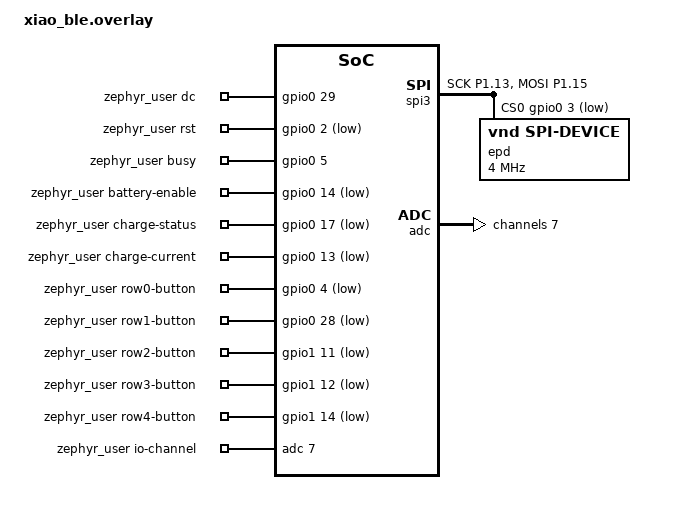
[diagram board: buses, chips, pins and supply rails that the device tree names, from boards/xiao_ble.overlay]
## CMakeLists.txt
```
cmake_minimum_required(VERSION 3.20.0)

find_package(Zephyr REQUIRED HINTS $ENV{ZEPHYR_BASE})
project(homescreen_display)

# The LVGL fonts the panel renders with, generated from one TTF by tools/fonts/generate.mjs
# together with the frontend's glyph-metrics table. Globbed rather than listed: the set is
# defined by that generator's SIZES/WEIGHTS, and a stale hand-maintained list here would
# silently drop a font the wire format can still reference. See src/fonts/hs_fonts.h.
file(GLOB HS_FONT_SOURCES ${CMAKE_CURRENT_SOURCE_DIR}/src/fonts/lv_font_hs_*.c)

target_sources(app PRIVATE
  ${HS_FONT_SOURCES}
  src/fonts/hs_fonts.c
  src/main.c
  src/ble_service.c
  src/chunk_protocol.c
  src/battery.c
  src/button.c
  src/epaper.c
  src/epaper_ssd1683.c
  src/layout_store.c
  src/rasterizer.c
)

target_include_directories(app PRIVATE src src/fonts)
```

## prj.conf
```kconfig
# Builds and runs on real hardware (XIAO nRF52840 + SSD1683) — see firmware/README.md.
# Kconfig names drift between Zephyr releases, so expect to revisit this if you move to a
# different NCS version than the one it was brought up against.

CONFIG_BT=y
CONFIG_BT_PERIPHERAL=y
CONFIG_BT_DEVICE_NAME="HomeScreen Display"
CONFIG_BT_DEVICE_NAME_DYNAMIC=n
# App logic only ever treats one connection as active at a time (spec 4.1/4.2) — this is
# 2, not 1, purely so the connection-object pool has a spare slot. With exactly 1, the
# just-disconnected object hadn't always finished being reclaimed internally by the time
# the next advertising cycle started, so bt_le_adv_start() kept returning -ENOMEM ("no
# free connection objects available for connectable advertiser") on real hardware — a
# known Zephyr BT host timing gap, not something app-level retry logic can wait out
# reliably (see zephyrproject-rtos/zephyr#90111, Nordic DevZone thread 109942).
CONFIG_BT_MAX_CONN=2
CONFIG_BT_MAX_PAIRED=0

# No bonding/pairing in v1 (spec 1, spec 8) — trusted local network, small device count.
CONFIG_BT_SMP=n

# Raise the negotiable ATT MTU well past the 23-byte default so data_transfer chunks
# (spec 4.3) aren't limited to ~13 payload bytes each. The gateway reads the connection's
# actual negotiated MTU at runtime (BleConnection.mtu_payload_size) rather than assuming
# this ceiling is always reached.
CONFIG_BT_L2CAP_TX_MTU=247
CONFIG_BT_BUF_ACL_TX_SIZE=251
CONFIG_BT_BUF_ACL_RX_SIZE=251
CONFIG_BT_USER_DATA_LEN_UPDATE=y

# Power management: lets the idle thread pick the SoC's deepest available sleep state
# during DEEP_SLEEP (k_msleep in main.c) automatically. Deliberately NOT calling
# sys_poweroff() for true System OFF — on nRF52840, System OFF drops power to the RTC
# peripheral, so it cannot wake on an RTC timer, only GPIO/LPCOMP/NFC (see docs/
# protocol.md's note on this if added, or Nordic's nRF52840 Product Specification,
# System OFF section). System ON's deepest sleep state keeps LFCLK+RTC alive for the
# RTC-driven wake this design needs, at only a small current cost versus true System OFF
# (Nordic's datasheet: ~1.5uA with full RAM retention vs ~0.3uA for System OFF) — this is
# what the spec's "System OFF (or the lowest sleep state that supports RTC wake)" phrase
# is actually pointing at.
CONFIG_PM=y
CONFIG_PM_DEVICE=y

CONFIG_WATCHDOG=y

CONFIG_ADC=y

CONFIG_GPIO=y
CONFIG_SPI=y

CONFIG_REBOOT=y

# LVGL (v9.5, bundled with NCS at modules/lib/gui/lvgl) as the text/shape renderer,
# replacing the hand-authored 8x8 bitmap font in font_basic.h. The point is not the
# widget toolkit — it's real proportional fonts with real glyph metrics, so what the
# design editor previews in the browser and what the panel actually prints can be made
# to agree. Nothing here routes the panel through Zephyr's display subsystem; see
# boards/xiao_ble.overlay's `zephyr,display` comment for why a dummy display node
# exists, and lvgl_render.c for how the real lv_display is created and flushed.
CONFIG_DISPLAY=y
CONFIG_LVGL=y

# RGB565. Not LV_COLOR_DEPTH_1 (which would look like the obvious choice for a mono
# panel): LVGL 9's I1 draw path is far less exercised than the 16-bit one, and the
# render happens once per wake into a buffer we threshold ourselves anyway, so the
# extra byte per pixel costs a transient buffer, not power or refresh time. Revisit if
# RAM gets tight.
CONFIG_LV_COLOR_DEPTH_16=y

CONFIG_LV_USE_LABEL=y
CONFIG_LV_USE_LINE=y
CONFIG_LV_FONT_MONTSERRAT_16=y

# LVGL's internal log. Off by default (LV_Z_LOG_LEVEL=0), which means LVGL's own error
# and assert messages — including allocation failures out of LV_Z_MEM_POOL_SIZE — are
# discarded rather than printed, so a failed render looks identical to a render that
# simply drew nothing. Routed into Zephyr's log via the module's lv_log_register_print_cb,
# which it only installs when LV_Z_LOG_LEVEL != 0.
# Don't assign LV_Z_LOG_LEVEL directly — it has no prompt and is derived from the level
# choice below (WARN => 2), so setting it is a hard Kconfig error.
CONFIG_LV_USE_LOG=y
CONFIG_LV_LOG_LEVEL_WARN=y

# LVGL's internal heap, used for object/style/draw-task allocation. Sized generously for
# bring-up rather than measured; lv_mem_monitor() is the way to trim it once the real
# full-panel render path exists.
CONFIG_LV_Z_MEM_POOL_SIZE=16384

CONFIG_LOG=y
CONFIG_LOG_DEFAULT_LEVEL=3

# USB CDC ACM console. Note this needs almost nothing here: the board's own defconfig
# (zephyr/boards/common/usb/Kconfig.cdc_acm_serial.defconfig, pulled in because
# xiao_ble_common.dtsi includes common/usb/cdc_acm_serial.dtsi) already sets
# BOARD_SERIAL_BACKEND_CDC_ACM=y, which turns on SERIAL/CONSOLE/UART_CONSOLE, selects the
# *next* USB device stack, and initializes CDC ACM at boot. The console was therefore
# available all along — this project simply never used it, and diagnosed bring-up
# problems from what the e-paper did or didn't show instead (see lvgl_spike.c's note
# about debugging "on hardware with no serial console"). The board enumerates as
# /dev/cu.usbmodem* on macOS.
#
# Do NOT add CONFIG_USB_DEVICE_STACK=y here: that is the *legacy* stack, and enabling it
# alongside the next one makes both bind the same devicetree cdc-acm-uart node, which
# fails at link time with "multiple definition of __device_dts_ord_N".
#
# UART_LINE_CTRL is the one thing not already on (its default tracks SHELL, which this
# app doesn't use). main.c's wait_for_console() needs it to poll DTR.
CONFIG_UART_LINE_CTRL=y

# Log lines produced before the host opens the CDC port are dropped — CDC ACM discards
# writes while nothing is attached — which would lose exactly the boot-time messages
# worth reading, including anything LVGL's SYS_INIT (LV_Z_AUTO_INIT, APPLICATION
# priority) emits before main() runs. Deferred logging buffers messages and a dedicated
# thread drains them; delaying that thread's first run lets the queue accumulate until
# main()'s wait_for_console() has seen DTR, so the backlog flushes into an attached
# terminal instead of a closed pipe. The board defconfig already defaults this to 4000ms;
# pinned explicitly here and kept in step with CONSOLE_WAIT_TIMEOUT_MS in main.c.
CONFIG_LOG_BUFFER_SIZE=4096
CONFIG_LOG_PROCESS_THREAD_STARTUP_DELAY_MS=2500

# LVGL's initialization runs as SYS_INIT(lvgl_init, APPLICATION, LV_Z_INIT_PRIORITY),
# i.e. on the main thread's stack before main() is entered, and LVGL's rendering is
# stack-hungry besides. At the previous default of 2048 the very first LVGL-enabled build
# never reached main() at all: the panel kept its pre-existing content, meaning
# epaper_init()'s unconditional blank-frame push never ran. With HW_STACK_PROTECTION=y an
# overflow there is an MPU fault, which on a board that isn't enumerating USB yet looks
# exactly like a silent hang.
CONFIG_MAIN_STACK_SIZE=8192
```

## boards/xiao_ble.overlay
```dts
/*
 * Devicetree overlay for the actual v1 hardware: Seeed Studio XIAO nRF52840 (XIAO BLE)
 * + ePaper Driver Board for XIAO + a 4.2" 400x300 monochrome eInk panel (SSD1683
 * controller, e.g. GDEY042T81/T91).
 *
 * Untested — written from Seeed's published pin table for the ePaper Driver Board
 * (wiki.seeedstudio.com/xiao_eink_expansion_board_v2), the standard XIAO nRF52840
 * D-pin -> nRF52840 GPIO mapping, and the SSD1683 datasheet (Solomon Systech, Rev 1.0,
 * Jan 2021) for the SPI framing (4-wire SPI: SCL/SDA/D-C#/CS#, MSB first). Verify
 * against your actual board revision and NCS/Zephyr version before flashing — see
 * firmware/README.md.
 *
 * XIAO D-pin -> nRF52840 GPIO (Seeed's standard XIAO BLE pinout):
 *   D0 = P0.02   D1 = P0.03   D2 = P0.28   D3 = P0.29
 *   D4 = P0.04   D5 = P0.05   D6 = P1.11   D7 = P1.12
 *   D8 = P1.13   D9 = P1.14   D10 = P1.15
 *
 * ePaper Driver Board pin table:
 *   RST=D0  CS=D1  DC=D3  BUSY=D5  SCK=D8  MOSI=D10
 *
 * BUSY=D5 was verified against the physical board. The rest of this row still comes from
 * Seeed's published wiki table, which had BUSY on D2 — demonstrably wrong here, so treat
 * the unverified entries with suspicion if anything else misbehaves. D2 is not used by
 * the panel at all and now carries a checklist button instead (see `buttons` below).
 *
 * Checklist row buttons (this feature): D2, D4, D6, D7, D9 are the pins the ePaper board
 * and battery ADC leave free — wired one per row, active-low to GND with the SoC's
 * internal pull-up (see `buttons` node below).
 *
 * D5 is NOT among them: it is the panel's BUSY line. It was originally listed here as a
 * free button pin because the ePaper pin table above wrongly placed BUSY on D2, so both
 * ends of that mistake had to be corrected together — row 1's button moved D5 -> D2.
 *
 * These GPIO numbers are transcribed from Seeed's published XIAO nRF52840 pinout diagram
 * and, apart from D5, are not cross-checked against a physical board — verify against the
 * actual silkscreen before wiring real buttons.
 *
 * Battery sense (documented on the Seeed forum for XIAO nRF52840): P0.31 is AIN7, the
 * ADC input for the VBAT divider; P0.14 is the divider's active-low enable pin. See
 * battery.c for why P0.14 is held low permanently rather than toggled per-read (a
 * known hardware risk to P0.31 if driven high while configured as an analog input).
 *
 * Charge status (documented on the Seeed forum for XIAO nRF52840): P0.17 is wired
 * on-module to the onboard BQ25101 charger IC's CHG output, the same signal that drives
 * the board's charging LED — driven low while charging, high when not charging or
 * charge-complete. Like P0.31/P0.14 above, this is an internal XIAO pin, not one of the
 * D0-D10 header pins, so it doesn't compete with the panel/button wiring in this file.
 *
 * Charge current select (documented on the Seeed forum, "XIAO Sense nRF52840 - A Guide
 * on How to set Battery Charging current"): P0.13 (silkscreened HICHG) is wired
 * on-module to the BQ25101's ISET pair — floating/input (the power-on default) selects
 * 50 mA, driven low selects 100 mA. battery.c drives it low permanently at boot, the
 * same "set once, leave it" treatment as battery-enable-gpios above, since there's no
 * reason to ever fall back to the slower rate.
 */

&pinctrl {
	spi3_epd: spi3_epd {
		group1 {
			psels = <NRF_PSEL(SPIM_SCK, 1, 13)>,
				<NRF_PSEL(SPIM_MOSI, 1, 15)>;
		};
	};
};

&spi3 {
	status = "okay";
	compatible = "nordic,nrf-spim";
	pinctrl-0 = <&spi3_epd>;
	pinctrl-names = "default";
	cs-gpios = <&gpio0 3 GPIO_ACTIVE_LOW>; /* D1 = CS */

	epd: epd@0 {
		/* No dedicated Zephyr binding for this panel family exists, so
		 * epaper.c pulls this as a raw spi_dt_spec (SPI_DT_SPEC_GET) rather
		 * than through a display-class driver — reg/spi-max-frequency are all
		 * that macro actually needs. Depending on your Zephyr/NCS version's
		 * devicetree tooling strictness, an unrecognized `compatible` here may
		 * warn (usually harmless) or require a matching bindings/*.yaml file
		 * in this app — add one if your build complains.
		 */
		compatible = "vnd,spi-device";
		reg = <0>;
		spi-max-frequency = <4000000>; /* conservative; SSD1683 supports more,
						 * raise once verified on real hardware */
	};
};

&adc {
	status = "okay";
	#address-cells = <1>;
	#size-cells = <0>;

	channel@7 {
		reg = <7>;
		zephyr,gain = "ADC_GAIN_1_6";
		zephyr,reference = "ADC_REF_INTERNAL";
		zephyr,acquisition-time = <ADC_ACQ_TIME(ADC_ACQ_TIME_MICROSECONDS, 40)>;
		zephyr,input-positive = <NRF_SAADC_AIN7>;
		zephyr,resolution = <12>;
	};
};

/ {
	chosen {
		/*
		 * LVGL's Zephyr module (zephyr/modules/lvgl/lvgl.c) is compiled
		 * unconditionally under CONFIG_LVGL and #errors at preprocess time unless a
		 * `zephyr,display` chosen node exists — it has no "I'll drive my own
		 * display" mode. This project deliberately does *not* go through Zephyr's
		 * display subsystem for the panel (see epaper_ssd1683.c and the SSD1683
		 * driver detour that was tried and reverted): the SSD1683 driver here is
		 * the hardware-proven one and stays.
		 *
		 * So this points at a dummy display purely to satisfy that build-time
		 * requirement. Nothing renders through it. The real rendering path creates
		 * its own lv_display sized to the panel and flushes into the 1bpp
		 * framebuffer that epd_ssd1683_push_full() already takes.
		 */
		zephyr,display = &lvgl_dummy_display;
	};

	/* Far smaller than the panel's 400x300 so the buffers LVGL's module allocates for
	 * this never-used display cost bytes instead of kilobytes. Not smaller still: the
	 * module sizes the buffer as a percentage of the display (CONFIG_LV_Z_VDB_SIZE,
	 * default 10), and at 8x8 that rounded to zero rows, so lvgl_init() asserted
	 * "lv_display_set_buffers: h != 0 (the buffer is too small)" on every boot. */
	lvgl_dummy_display: lvgl-dummy-dc {
		compatible = "zephyr,dummy-dc";
		status = "okay";
		width = <64>;
		height = <64>;
	};

	/*
	 * Board-specific GPIO/ADC wiring with no dedicated driver of its own —
	 * `zephyr,user` is Zephyr's standard place for exactly this (see e.g.
	 * nRF Connect SDK's own battery-voltage samples for the io-channels half of
	 * this pattern). Read via DT_PATH(zephyr_user) + GPIO_DT_SPEC_GET /
	 * ADC_DT_SPEC_GET_BY_IDX in battery.c and epaper.c.
	 */
	zephyr_user: zephyr,user {
		io-channels = <&adc 7>;
		dc-gpios = <&gpio0 29 GPIO_ACTIVE_HIGH>;   /* D3 */
		rst-gpios = <&gpio0 2 GPIO_ACTIVE_LOW>;    /* D0 */
		/* D5, not D2. The pin table in this file's header (transcribed from Seeed's
		 * wiki) said BUSY=D2, and that was wrong for this board: a boot-time probe
		 * (epd_probe_busy_line in epaper_ssd1683.c) sampled P0.28 978 times across a
		 * software reset and never once saw it asserted, and the pin was confirmed
		 * against the physical board as D5. Every panel operation was consequently
		 * falling through to a 4-second blind wait — see epd_wait_busy(). */
		busy-gpios = <&gpio0 5 GPIO_ACTIVE_HIGH>; /* D5 — datasheet: high = busy */
		battery-enable-gpios = <&gpio0 14 GPIO_ACTIVE_LOW>; /* low = divider enabled */
		/* ACTIVE_LOW so gpio_pin_get_dt() reads 1 (active) exactly while the BQ25101
		 * is charging, matching battery.c's bool out-param. No PULL flag: the CHG
		 * pin is already driven push-pull-ish by the charger IC through the LED's
		 * pull path on the XIAO module itself (same reasoning as busy-gpios above
		 * not needing one — an actively-driven signal, not a floating input). */
		charge-status-gpios = <&gpio0 17 GPIO_ACTIVE_LOW>;
		/* ACTIVE_LOW so GPIO_OUTPUT_ACTIVE (battery.c) drives the physical pin low,
		 * selecting the BQ25101's 100 mA charge rate instead of the 50 mA default. */
		charge-current-gpios = <&gpio0 13 GPIO_ACTIVE_LOW>;

		/* One tactile button per checklist row (up to 5, the number of free GPIOs —
		 * see header comment). Each ties its pin to GND when pressed; ACTIVE_LOW +
		 * PULL_UP means the pin reads high (inactive) via the SoC's internal pull-up
		 * when open. The pin's own edge interrupt (configured in button.c, not here)
		 * is what wakes the SoC from DEEP_SLEEP — no separate "wakeup-source"
		 * devicetree property is needed because this firmware sleeps in Zephyr's
		 * deepest *System ON* low-power state, not System OFF, and GPIO interrupts
		 * already wake the CPU for free from there (see prj.conf's comment on why
		 * System OFF was deliberately avoided). Named individually (not a `gpios`
		 * array, and not `gpio-keys` + CONFIG_INPUT) to keep each one a plain
		 * GPIO_DT_SPEC_GET(DT_PATH(zephyr_user), row0_button_gpios)-style spec in
		 * button.c, matching every other pin in this node. */
		row0-button-gpios = <&gpio0 4 (GPIO_ACTIVE_LOW | GPIO_PULL_UP)>;  /* D4 */
		/* Moved off D5, which turned out to be the panel's BUSY line (see busy-gpios
		 * above) — the two cannot share a pin. D2/P0.28 is free precisely because it
		 * was the pin BUSY was mistakenly assigned to.
		 *
		 * NOTE: this is a wiring change, not just a devicetree change. If a physical
		 * button for row 1 is already soldered to D5, it has to move to D2 as well,
		 * otherwise pressing it fights the panel driving BUSY. */
		row1-button-gpios = <&gpio0 28 (GPIO_ACTIVE_LOW | GPIO_PULL_UP)>; /* D2 */
		row2-button-gpios = <&gpio1 11 (GPIO_ACTIVE_LOW | GPIO_PULL_UP)>; /* D6 */
		row3-button-gpios = <&gpio1 12 (GPIO_ACTIVE_LOW | GPIO_PULL_UP)>; /* D7 */
		row4-button-gpios = <&gpio1 14 (GPIO_ACTIVE_LOW | GPIO_PULL_UP)>; /* D9 */
	};
};
```

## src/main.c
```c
/*
 * Duty-cycle state machine (spec 4.1):
 *
 *   DEEP_SLEEP --RTC wake--> ADVERTISING --connected--> SYNCING --done--> DEEP_SLEEP
 *        ^                        |                                          |
 *        '---- advertising window elapses, no connection --------------------'
 *
 * SYNCING itself has no code here — it's entirely driven by the GATT read/write
 * callbacks in ble_service.c while a connection is open. This file only needs to know
 * when a cycle has ended (on_ble_event's DISCONNECTED case) to go back to sleep.
 */

#include <errno.h>

#include <zephyr/device.h>
#include <zephyr/drivers/hwinfo.h>
#include <zephyr/drivers/uart.h>
#include <zephyr/drivers/watchdog.h>
#include <zephyr/kernel.h>
#include <zephyr/logging/log.h>

#include "battery.h"
#include "ble_service.h"
#include "button.h"
#include "epaper.h"

LOG_MODULE_REGISTER(main, CONFIG_LOG_DEFAULT_LEVEL);

#define FW_VERSION 2

/* Not yet a Kconfig option — see firmware/README.md item 1. */
#define APP_ADVERTISING_WINDOW_MS 4000

/* How many consecutive wake cycles may elapse with no gateway BLE connection before the
 * panel shows a "not connected" badge (epaper_set_connection_lost) instead of silently
 * going back to sleep with stale content and no indication anything is wrong. Not yet a
 * Kconfig/BLE-command option, same status as APP_ADVERTISING_WINDOW_MS above — nothing
 * about the wire protocol needs to change to make this runtime-configurable later the
 * same way BLE_SERVICE_COMMAND_SET_WAKE_INTERVAL_S did for the wake interval. */
#define CONNECTION_LOST_THRESHOLD 3

/* DEEP_SLEEP's duration itself is no longer a compile-time constant here — it's
 * ble_service_get_wake_interval_s(), runtime-configurable via
 * BLE_SERVICE_COMMAND_SET_WAKE_INTERVAL_S (ble_service.h) so the backend/gateway can
 * tune it per display without reflashing. It starts at
 * BLE_SERVICE_DEFAULT_WAKE_INTERVAL_S — a bring-up value, not a battery-life one:
 * content takes two wake cycles to converge (docs/protocol.md, "Sync latency"), so at a
 * much longer interval every test iteration would cost several minutes.
 *
 * Generous enough to cover one full advertising+sync cycle plus slack, short enough to
 * catch a genuinely stuck SYNCING phase (spec 4.1's watchdog requirement). Fed exactly
 * once per completed cycle, right before going back to sleep — not continuously — so a
 * hang anywhere in a cycle (not just SYNCING) eventually forces the reset spec 4.1 asks
 * for. The nRF's watchdog timeout can't be changed once wdt_setup() runs (its CRV
 * register is write-once-per-reset), so this is sized off
 * BLE_SERVICE_MAX_WAKE_INTERVAL_S — the worst case the wake interval could ever be set
 * to — rather than whatever it's currently configured to. That means a short-interval
 * display's watchdog window is looser than the "2x this cycle" reasoning alone would
 * give it, but a wake interval that long is itself an intentional long sleep, not a
 * hang, so a loose bound there costs nothing but watchdog precision. */
#define WATCHDOG_TIMEOUT_MS (2 * BLE_SERVICE_MAX_WAKE_INTERVAL_S * 1000)

static K_SEM_DEFINE(sync_done_sem, 0, 1);

/* Given by a button ISR (button.c) on any accepted press, so DEEP_SLEEP can end early
 * instead of always waiting the full RTC interval — see the sleep call at the bottom of
 * the main loop below. */
static K_SEM_DEFINE(wake_sem, 0, 1);

static const struct device *wdt_dev;
static int wdt_channel_id = -1;

/* Set by on_ble_event on CONNECTED, read (and reset) by the main loop once each cycle's
 * advertise_and_wait_for_sync() call returns. A connection is enough to count as
 * "reached the gateway" here even in the (in-sync, nothing to push) case where no
 * data_transfer ever happens — that's the normal steady state, not a failure. */
static volatile bool connected_this_cycle;

/* How many wake cycles in a row have ended with no BLE connection at all. Saturates at
 * CONNECTION_LOST_THRESHOLD rather than growing without bound while disconnected for a
 * long time — epaper_set_connection_lost is already a no-op once the badge is showing,
 * so nothing is lost by not counting higher. */
static uint8_t consecutive_connect_failures;

static void on_ble_event(enum ble_service_event event)
{
	if (event == BLE_SERVICE_EVENT_CONNECTED) {
		connected_this_cycle = true;
	} else if (event == BLE_SERVICE_EVENT_DISCONNECTED) {
		/* Clean or unexpected disconnect — either way, spec 4.1 says always
		 * return to DEEP_SLEEP, never leave the radio in an ambiguous state. */
		k_sem_give(&sync_done_sem);
	}
}

static int watchdog_setup(void)
{
	wdt_dev = DEVICE_DT_GET_ANY(nordic_nrf_watchdog);
	if (wdt_dev == NULL || !device_is_ready(wdt_dev)) {
		LOG_ERR("watchdog device not ready");
		return -ENODEV;
	}

	struct wdt_timeout_cfg wdt_config = {
		.window.min = 0,
		.window.max = WATCHDOG_TIMEOUT_MS,
		.callback = NULL, /* no callback — let it reset the chip directly */
		.flags = WDT_FLAG_RESET_SOC,
	};

	wdt_channel_id = wdt_install_timeout(wdt_dev, &wdt_config);
	if (wdt_channel_id < 0) {
		LOG_ERR("failed to install watchdog timeout (%d)", wdt_channel_id);
		return wdt_channel_id;
	}

	return wdt_setup(wdt_dev, 0);
}

static void watchdog_feed(void)
{
	if (wdt_dev != NULL && wdt_channel_id >= 0) {
		wdt_feed(wdt_dev, wdt_channel_id);
	}
}

static void advertise_and_wait_for_sync(void)
{
	int err = ble_service_start_advertising();
	if (err) {
		LOG_ERR("failed to start advertising (%d)", err);
		return;
	}

	k_sem_reset(&sync_done_sem);
	int took_sem = k_sem_take(&sync_done_sem, K_MSEC(APP_ADVERTISING_WINDOW_MS));

	if (took_sem != 0) {
		/* Window elapsed with nobody connecting — stop advertising ourselves.
		 * If a connection *did* happen, advertising already stopped on connect
		 * (BT_LE_ADV_CONN_FAST_1's behavior) and sync_done_sem was given by
		 * on_ble_event() once the gateway disconnected. */
		ble_service_stop_advertising();
	}
}

/* Logs why the last reset happened, then clears the cause register so the next one is
 * unambiguous. On the nRF52840, a value of 0 (none of the named bits set) means POR or
 * brownout — the SoC doesn't distinguish those two from each other, only from
 * watchdog/software/lockup resets, which do set a bit. Worth keeping permanently: a
 * battery-powered device that reboots in the field leaves nothing else to go on, and an
 * MPU stack-guard fault (see epd_ssd1683_identify) kills the USB console before it can
 * flush the fault dump, so this line is often the only surviving evidence. */
static void log_reset_cause(void)
{
	uint32_t cause = 0;

	hwinfo_get_reset_cause(&cause);
	hwinfo_clear_reset_cause();

	LOG_INF("reset cause: 0x%08x%s%s%s%s%s%s", cause,
		(cause & RESET_PIN) ? " PIN" : "", (cause & RESET_SOFTWARE) ? " SOFTWARE" : "",
		(cause & RESET_WATCHDOG) ? " WATCHDOG" : "",
		(cause & RESET_CPU_LOCKUP) ? " CPU_LOCKUP" : "",
		(cause & RESET_LOW_POWER_WAKE) ? " LOW_POWER_WAKE" : "",
		(cause == 0) ? " (none set -> POR or brownout)" : "");
}

/* How long to wait at boot for a host to open the USB CDC console (prj.conf's USB block).
 * Bounded, and deliberately short: in normal service this display runs on a battery with
 * nothing plugged into USB, where DTR never asserts and this wait is dead time on every
 * reset. Long enough for macOS to enumerate the device and a terminal to attach when
 * someone is actually debugging, negligible otherwise. Kept in step with
 * CONFIG_LOG_PROCESS_THREAD_STARTUP_DELAY_MS so the buffered boot log flushes just after
 * the terminal is attached rather than just before. */
#define CONSOLE_WAIT_TIMEOUT_MS 2000
#define CONSOLE_WAIT_POLL_MS 50

static void wait_for_console(void)
{
	const struct device *console = DEVICE_DT_GET(DT_CHOSEN(zephyr_console));

	if (!device_is_ready(console)) {
		return;
	}

	for (int waited = 0; waited < CONSOLE_WAIT_TIMEOUT_MS; waited += CONSOLE_WAIT_POLL_MS) {
		uint32_t dtr = 0;

		if (uart_line_ctrl_get(console, UART_LINE_CTRL_DTR, &dtr) == 0 && dtr) {
			return;
		}
		k_msleep(CONSOLE_WAIT_POLL_MS);
	}
}

int main(void)
{
	wait_for_console();

	LOG_INF("homescreen display firmware starting (fw_version=%d)", FW_VERSION);
	log_reset_cause();

	if (watchdog_setup() != 0) {
		LOG_WRN("continuing without watchdog protection");
	}

	battery_init();
	epaper_init();

	if (button_init(&wake_sem) != 0) {
		LOG_WRN("continuing without checklist buttons");
	}

	int err = ble_service_init();
	if (err) {
		LOG_ERR("bt_enable failed (%d) - halting", err);
		return err;
	}
	ble_service_set_event_callback(on_ble_event);

	while (1) {
		uint8_t battery_pct;
		uint16_t battery_mv;
		bool charging;
		if (battery_read(&battery_pct, &battery_mv, &charging) == 0) {
			ble_service_set_battery(battery_pct, battery_mv, charging);
			/* Locally-known state, drawn independent of the gateway — see
			 * epaper_set_charging's doc comment. */
			epaper_set_charging(charging);
		} else {
			LOG_WRN("battery read failed, status will report last known value");
		}

		connected_this_cycle = false;
		advertise_and_wait_for_sync();

		if (connected_this_cycle) {
			consecutive_connect_failures = 0;
		} else if (consecutive_connect_failures < CONNECTION_LOST_THRESHOLD) {
			consecutive_connect_failures++;
		}
		epaper_set_connection_lost(consecutive_connect_failures >= CONNECTION_LOST_THRESHOLD);

		/* Cycle complete, synced or not — feed the watchdog and go back to
		 * sleep. Sleeping via k_sem_take (not a plain k_msleep) lets a checklist
		 * button press end DEEP_SLEEP early instead of always waiting the full RTC
		 * interval, while still relying on CONFIG_PM's idle thread to select the
		 * SoC's deepest RTC-wake-capable sleep state for however long we do wait;
		 * see prj.conf for why this isn't a manual sys_poweroff()/true System OFF
		 * call — that distinction is also what makes a plain GPIO interrupt enough
		 * to wake us here, with no extra devicetree "wakeup-source" plumbing. */
		watchdog_feed();
		k_sem_reset(&wake_sem);
		k_sem_take(&wake_sem, K_MSEC(ble_service_get_wake_interval_s() * 1000));
	}

	return 0;
}
```

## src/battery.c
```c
#include "battery.h"

#include <errno.h>

#include <zephyr/device.h>
#include <zephyr/devicetree.h>
#include <zephyr/drivers/adc.h>
#include <zephyr/drivers/gpio.h>
#include <zephyr/logging/log.h>

LOG_MODULE_REGISTER(battery, CONFIG_LOG_DEFAULT_LEVEL);

/* Wired up in boards/xiao_ble.overlay's `zephyr,user` node: io-channels = P0.31/AIN7
 * (the VBAT divider output), battery-enable-gpios = P0.14 (the divider's active-low
 * enable pin) — see that file's header comment for the hardware sourcing. Falls back to
 * a placeholder reading on any other board until a matching overlay exists. */
#define BATTERY_NODE DT_PATH(zephyr_user)

#if DT_NODE_HAS_PROP(BATTERY_NODE, io_channels)
static const struct adc_dt_spec battery_adc = ADC_DT_SPEC_GET(BATTERY_NODE);
#define HAVE_BATTERY_ADC 1
#endif

#if DT_NODE_HAS_PROP(BATTERY_NODE, battery_enable_gpios)
static const struct gpio_dt_spec battery_enable =
	GPIO_DT_SPEC_GET(BATTERY_NODE, battery_enable_gpios);
#define HAVE_BATTERY_ENABLE 1
#endif

/* BQ25101 CHG output via the XIAO module's own wiring (see xiao_ble.overlay) — absent
 * on any board whose overlay doesn't define it, same "degrade instead of failing to
 * build" treatment as HAVE_BATTERY_ADC/HAVE_BATTERY_ENABLE above. */
#if DT_NODE_HAS_PROP(BATTERY_NODE, charge_status_gpios)
static const struct gpio_dt_spec charge_status =
	GPIO_DT_SPEC_GET(BATTERY_NODE, charge_status_gpios);
#define HAVE_CHARGE_STATUS 1
#endif

/* BQ25101 ISET select via the XIAO module's HICHG pin (see xiao_ble.overlay) — same
 * "degrade instead of failing to build" treatment as the others above. Absent, the
 * charger just stays at its power-on-default 50 mA rate. */
#if DT_NODE_HAS_PROP(BATTERY_NODE, charge_current_gpios)
static const struct gpio_dt_spec charge_current =
	GPIO_DT_SPEC_GET(BATTERY_NODE, charge_current_gpios);
#define HAVE_CHARGE_CURRENT 1
#endif

/* battery_voltage_mv = adc_reading_mv * VBAT_DIVIDER_RATIO. XIAO nRF52840's VBAT
 * divider is commonly cited as ~1/3 (documented as "divide by about 1/3" / ratio
 * 1510/510 on the Seeed forum) — treated as a placeholder ratio like any other board's
 * divider until measured against a real battery on real hardware. */
#define VBAT_DIVIDER_RATIO 3

/* Linear map between empty/full thresholds for a single-cell LiPo, in the same "tune
 * once real data exists" category as the wake interval (spec 8). */
#define BATTERY_EMPTY_MV 3300
#define BATTERY_FULL_MV 4200

int battery_init(void)
{
#if HAVE_BATTERY_ENABLE
	if (!gpio_is_ready_dt(&battery_enable)) {
		LOG_ERR("battery: enable GPIO not ready");
		return -ENODEV;
	}
	/* Configured once and left enabled permanently, never toggled per-read. A
	 * known XIAO nRF52840 hardware issue: leaving this pin (or misconfiguring it)
	 * high while P0.31 is set up as an analog input risks the ADC pin seeing the
	 * full battery rail past its input limit. Holding it low for the device's
	 * entire lifetime avoids that sequencing risk entirely, at the cost of the
	 * divider's small continuous current draw — an explicit tradeoff, not an
	 * oversight; revisit if that current cost turns out to matter against real
	 * battery-life data. */
	int err = gpio_pin_configure_dt(&battery_enable, GPIO_OUTPUT_ACTIVE);
	if (err) {
		LOG_ERR("battery: failed to enable VBAT divider (%d)", err);
		return err;
	}
#endif

#if HAVE_CHARGE_STATUS
	if (!gpio_is_ready_dt(&charge_status)) {
		LOG_ERR("battery: charge-status GPIO not ready");
		return -ENODEV;
	}
	/* Plain input, no pull — the charger IC actively drives this line (see
	 * xiao_ble.overlay), so an internal pull would only fight it. */
	int charge_err = gpio_pin_configure_dt(&charge_status, GPIO_INPUT);
	if (charge_err) {
		LOG_ERR("battery: failed to configure charge-status GPIO (%d)", charge_err);
		return charge_err;
	}
#endif

#if HAVE_CHARGE_CURRENT
	if (!gpio_is_ready_dt(&charge_current)) {
		LOG_ERR("battery: charge-current GPIO not ready");
		return -ENODEV;
	}
	/* Configured once and left driven low permanently, selecting the BQ25101's
	 * 100 mA rate instead of the 50 mA it powers on with — no reason to ever fall
	 * back to the slower one, so this never gets toggled per-read like the ADC
	 * divider enable above intentionally isn't either. */
	int charge_current_err = gpio_pin_configure_dt(&charge_current, GPIO_OUTPUT_ACTIVE);
	if (charge_current_err) {
		LOG_ERR("battery: failed to select charge current (%d)", charge_current_err);
		return charge_current_err;
	}
#endif

#if HAVE_BATTERY_ADC
	if (!adc_is_ready_dt(&battery_adc)) {
		LOG_ERR("battery: ADC device not ready");
		return -ENODEV;
	}
	return adc_channel_setup_dt(&battery_adc);
#else
	LOG_WRN("battery: no ADC channel in devicetree — battery_read() will report a "
		"fixed placeholder value until a board overlay defines one");
	return 0;
#endif
}

static uint8_t battery_pct_from_mv(uint16_t battery_mv)
{
	int32_t clamped_mv = battery_mv;

	if (clamped_mv < BATTERY_EMPTY_MV) {
		clamped_mv = BATTERY_EMPTY_MV;
	}
	if (clamped_mv > BATTERY_FULL_MV) {
		clamped_mv = BATTERY_FULL_MV;
	}
	return (uint8_t)(100 * (clamped_mv - BATTERY_EMPTY_MV) / (BATTERY_FULL_MV - BATTERY_EMPTY_MV));
}

int battery_read(uint8_t *out_battery_pct, uint16_t *out_battery_mv, bool *out_charging)
{
	uint16_t battery_mv;

#if HAVE_CHARGE_STATUS
	int charge_val = gpio_pin_get_dt(&charge_status);
	*out_charging = (charge_val > 0); /* ACTIVE_LOW spec: 1 = active = charging */
#else
	*out_charging = false;
#endif

#if HAVE_BATTERY_ADC
	uint16_t raw;
	struct adc_sequence sequence = {
		.buffer = &raw,
		.buffer_size = sizeof(raw),
	};

	int err = adc_sequence_init_dt(&battery_adc, &sequence);
	if (err) {
		return err;
	}

	err = adc_read_dt(&battery_adc, &sequence);
	if (err) {
		return err;
	}

	int32_t adc_mv = raw;
	err = adc_raw_to_millivolts_dt(&battery_adc, &adc_mv);
	if (err) {
		return err;
	}

	battery_mv = (uint16_t)(adc_mv * VBAT_DIVIDER_RATIO);
#else
	battery_mv = 3700; /* placeholder until a real ADC channel is wired up */
#endif

	*out_battery_mv = battery_mv;
	*out_battery_pct = battery_pct_from_mv(battery_mv);
	return 0;
}
```

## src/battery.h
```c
/* Battery monitoring via ADC on a VBAT divider (spec 4.5), plus charge status read
 * straight off the onboard charger IC's status pin (boards/xiao_ble.overlay's
 * charge-status-gpios) — no ADC or averaging involved for that half, just a GPIO level. */

#ifndef BATTERY_H_
#define BATTERY_H_

#include <stdbool.h>
#include <stdint.h>

int battery_init(void);

/* Reads the VBAT divider and returns battery_mv directly, plus battery_pct derived from
 * a simple linear map between empty/full millivolt thresholds. Swap the linear map for
 * a real discharge-curve lookup once real battery data exists, or a fuel-gauge IC
 * (MAX17048) per spec 4.5's suggested upgrade path.
 *
 * *out_charging comes from the charger IC's status pin, not derived from battery_mv —
 * on boards without charge-status-gpios in their overlay it's always reported false
 * rather than left uninitialized, so callers don't need a feature check of their own.
 * Returns 0 on success. */
int battery_read(uint8_t *out_battery_pct, uint16_t *out_battery_mv, bool *out_charging);

#endif /* BATTERY_H_ */
```

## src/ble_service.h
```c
/*
 * Custom GATT service (spec 4.2): status (read/notify), button_event (read),
 * data_transfer (write), command (write). The UUIDs are defined in ble_service.c and
 * duplicated in gateway/gateway/uuids.py, which is how the gateway locates the service
 * and its characteristics — the two must change together, and changing them means
 * reflashing before the gateway will see the device again.
 */

#ifndef BLE_SERVICE_H_
#define BLE_SERVICE_H_

#include <stdbool.h>
#include <stdint.h>

enum ble_service_event {
	BLE_SERVICE_EVENT_CONNECTED,
	BLE_SERVICE_EVENT_DISCONNECTED,
};

typedef void (*ble_service_event_cb_t)(enum ble_service_event event);

/* Command characteristic values (spec 4.2). */
#define BLE_SERVICE_COMMAND_FORCE_FULL_REFRESH 0x01
#define BLE_SERVICE_COMMAND_SLEEP_NOW 0x02
#define BLE_SERVICE_COMMAND_IDENTIFY 0x03
/* Per-display mounting orientation (epaper_set_rotation) — mirrors
 * gateway/gateway/uuids.py's COMMAND_ROTATE_NORMAL/COMMAND_ROTATE_180. Sent by the
 * gateway on every sync (see sync.py), not just when it changes. */
#define BLE_SERVICE_COMMAND_ROTATE_NORMAL 0x04
#define BLE_SERVICE_COMMAND_ROTATE_180 0x05

/* Unlike the plain single-byte commands above, this one's write carries a 2-byte
 * little-endian value (seconds) after the command byte, so write_command's usual
 * `len != 1` rejection doesn't apply to it — see write_command's switch in
 * ble_service.c. Mirrors gateway/gateway/uuids.py's COMMAND_SET_WAKE_INTERVAL_S; sent
 * by the gateway on every sync, same self-healing reasoning as ROTATE_* above. */
#define BLE_SERVICE_COMMAND_SET_WAKE_INTERVAL_S 0x06

/* main.c's DEEP_SLEEP duration (ble_service_get_wake_interval_s()) is clamped to this
 * range on write rather than rejected — an out-of-range request still leaves the
 * display in a working state instead of erroring the whole command write. MAX also
 * bounds WATCHDOG_TIMEOUT_MS (main.c), so raising it means accepting a looser watchdog
 * window for every cycle, not just long-interval ones. */
#define BLE_SERVICE_MIN_WAKE_INTERVAL_S 5
#define BLE_SERVICE_MAX_WAKE_INTERVAL_S 3600
#define BLE_SERVICE_DEFAULT_WAKE_INTERVAL_S 15

int ble_service_init(void);

/* Called once from main; fires on every connect/disconnect so main.c's state machine
 * can transition ADVERTISING -> SYNCING -> DEEP_SLEEP without polling. */
void ble_service_set_event_callback(ble_service_event_cb_t cb);

int ble_service_start_advertising(void);
int ble_service_stop_advertising(void);

/* Updates what the `status` characteristic reports on its next read. Called by main.c
 * once a data_transfer message has been applied, and by battery.c after each reading. */
void ble_service_set_content_hash(uint32_t content_hash);
void ble_service_set_battery(uint8_t battery_pct, uint16_t battery_mv, bool charging);

/* Read by main.c's DEEP_SLEEP loop on every cycle. Starts at
 * BLE_SERVICE_DEFAULT_WAKE_INTERVAL_S and is updated in place by an incoming
 * BLE_SERVICE_COMMAND_SET_WAKE_INTERVAL_S write (write_command in ble_service.c) — not
 * persisted across a power cycle, same as rotate_180's RAM-only state, since the
 * gateway re-asserts both every sync. */
uint16_t ble_service_get_wake_interval_s(void);

/* button_event characteristic: 1 byte, bit i (0-4) = checklist row i's button pressed
 * since the mask was last read. Read-only, atomically cleared on read. No setter here —
 * unlike status/battery, its read callback calls button_consume_pending_mask() (see
 * button.h) directly at read time, so there's no cached value for main.c to push. */

#endif /* BLE_SERVICE_H_ */
```

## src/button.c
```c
#include "button.h"

#include <errno.h>

#include <zephyr/device.h>
#include <zephyr/devicetree.h>
#include <zephyr/drivers/gpio.h>
#include <zephyr/logging/log.h>
#include <zephyr/sys/atomic.h>
#include <zephyr/sys/util.h>

LOG_MODULE_REGISTER(button, CONFIG_LOG_DEFAULT_LEVEL);

/* Wired up in boards/xiao_ble.overlay's `zephyr,user` node as row0-button-gpios..
 * row4-button-gpios (D4/D5/D6/D7/D9) — see that file's header comment for pin sourcing
 * and why GPIO interrupts are enough to wake this firmware without any devicetree
 * "wakeup-source" property. */
#define BUTTON_NODE DT_PATH(zephyr_user)

/* ~50ms is generous for a mechanical tactile switch's contact bounce and short enough
 * that a deliberate double-press still registers as two presses. */
#define DEBOUNCE_MS 50

static const struct gpio_dt_spec buttons[BUTTON_COUNT] = {
	GPIO_DT_SPEC_GET(BUTTON_NODE, row0_button_gpios),
	GPIO_DT_SPEC_GET(BUTTON_NODE, row1_button_gpios),
	GPIO_DT_SPEC_GET(BUTTON_NODE, row2_button_gpios),
	GPIO_DT_SPEC_GET(BUTTON_NODE, row3_button_gpios),
	GPIO_DT_SPEC_GET(BUTTON_NODE, row4_button_gpios),
};

static struct gpio_callback button_cb[BUTTON_COUNT];
static atomic_t pending_mask = ATOMIC_INIT(0);
static int64_t last_press_ms[BUTTON_COUNT];
static struct k_sem *wake_sem_ref;

static void on_button_pressed(const struct device *port, struct gpio_callback *cb, uint32_t pins)
{
	ARG_UNUSED(port);
	ARG_UNUSED(pins);

	/* Each button gets its own callback struct (rather than one shared callback
	 * decoding a pin bitmask), so the matching struct's own array position tells us
	 * which row fired — simpler than reconciling pin numbers across gpio0 and gpio1
	 * (D4/D5 are on gpio0, D6/D7/D9 are on gpio1). */
	int index = (int)(cb - button_cb);

	if (index < 0 || index >= BUTTON_COUNT) {
		return;
	}

	int64_t now = k_uptime_get();
	if (now - last_press_ms[index] < DEBOUNCE_MS) {
		return;
	}
	last_press_ms[index] = now;

	atomic_or(&pending_mask, BIT(index));
	if (wake_sem_ref != NULL) {
		k_sem_give(wake_sem_ref);
	}
}

int button_init(struct k_sem *wake_sem)
{
	wake_sem_ref = wake_sem;

	for (int i = 0; i < BUTTON_COUNT; i++) {
		if (!gpio_is_ready_dt(&buttons[i])) {
			LOG_ERR("button %d: GPIO not ready", i);
			return -ENODEV;
		}

		int err = gpio_pin_configure_dt(&buttons[i], GPIO_INPUT);
		if (err) {
			LOG_ERR("button %d: configure failed (%d)", i, err);
			return err;
		}

		err = gpio_pin_interrupt_configure_dt(&buttons[i], GPIO_INT_EDGE_TO_ACTIVE);
		if (err) {
			LOG_ERR("button %d: interrupt configure failed (%d)", i, err);
			return err;
		}

		gpio_init_callback(&button_cb[i], on_button_pressed, BIT(buttons[i].pin));
		err = gpio_add_callback(buttons[i].port, &button_cb[i]);
		if (err) {
			LOG_ERR("button %d: add callback failed (%d)", i, err);
			return err;
		}
	}

	return 0;
}

uint8_t button_consume_pending_mask(void)
{
	return (uint8_t)atomic_set(&pending_mask, 0);
}
```

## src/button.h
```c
/* Checklist row buttons — one tactile button per row (spec extension: see plan for the
 * physical-button checklist feature). Debounced GPIO interrupts feed a pending bitmask
 * that both wakes the DEEP_SLEEP loop early (main.c) and backs the button_event GATT
 * characteristic (ble_service.c). */

#ifndef BUTTON_H_
#define BUTTON_H_

#include <stdint.h>

#include <zephyr/kernel.h>

#define BUTTON_COUNT 5

/* Configures all row-button GPIOs as inputs with edge interrupts. wake_sem is given
 * (k_sem_give) from the ISR on every accepted (post-debounce) press, so main.c's
 * DEEP_SLEEP sleep call can be interrupted early instead of waiting for the next RTC
 * timeout. Returns 0 on success. */
int button_init(struct k_sem *wake_sem);

/* Atomically reads and clears the pending-press bitmask: bit i (0-4) set means row i's
 * button was pressed since the last call. Backs the button_event characteristic's read
 * callback directly — always fresh, no cached setter needed (unlike battery/status). */
uint8_t button_consume_pending_mask(void);

#endif /* BUTTON_H_ */
```

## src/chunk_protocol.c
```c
#include "chunk_protocol.h"

#include <string.h>

#include <zephyr/logging/log.h>
#include <zephyr/sys/byteorder.h>

LOG_MODULE_REGISTER(chunk_protocol, CONFIG_LOG_DEFAULT_LEVEL);

/* CRC-16/CCITT-FALSE (poly 0x1021, init 0xFFFF) — pinned in docs/protocol.md, must match
 * gateway/gateway/protocol.py::crc16_ccitt_false exactly. */
static uint16_t crc16_ccitt_false(const uint8_t *data, size_t len)
{
	uint16_t crc = 0xFFFF;

	for (size_t i = 0; i < len; i++) {
		crc ^= (uint16_t)data[i] << 8;
		for (int bit = 0; bit < 8; bit++) {
			if (crc & 0x8000) {
				crc = (uint16_t)((crc << 1) ^ 0x1021);
			} else {
				crc = (uint16_t)(crc << 1);
			}
		}
	}
	return crc;
}

void chunk_reassembler_reset(chunk_reassembler_t *r)
{
	r->buffer_len = 0;
	r->total_chunks = 0;
	r->next_expected_index = 0;
	r->expected_crc16 = 0;
	r->msg_type = 0;
	r->in_progress = false;
}

bool chunk_reassembler_feed(chunk_reassembler_t *r, const uint8_t *chunk, size_t chunk_len,
			    uint8_t *out_msg_type, const uint8_t **out_payload,
			    size_t *out_payload_len)
{
	if (chunk_len < CHUNK_HEADER_LEN) {
		chunk_reassembler_reset(r);
		return false;
	}

	uint8_t msg_type = chunk[0];
	uint16_t index = sys_get_le16(&chunk[1]);
	uint16_t total = sys_get_le16(&chunk[3]);
	uint16_t crc = sys_get_le16(&chunk[5]);
	const uint8_t *body = &chunk[CHUNK_HEADER_LEN];
	size_t body_len = chunk_len - CHUNK_HEADER_LEN;

	if (index == 0) {
		/* Start of a new message. A fresh index-0 chunk always wins, even if a
		 * previous message was mid-reassembly — mirrors the gateway-side
		 * ChunkReassembler's "start fresh" behavior. */
		chunk_reassembler_reset(r);
		r->total_chunks = total;
		r->expected_crc16 = crc;
		r->msg_type = msg_type;
		r->in_progress = true;
	}

	if (!r->in_progress || index != r->next_expected_index || total != r->total_chunks ||
	    crc != r->expected_crc16 || msg_type != r->msg_type) {
		/* Out of order or belongs to a different message. BLE guarantees
		 * in-order delivery within a connection, so this should only happen on
		 * a genuine protocol error — discard and wait for the next index-0
		 * chunk rather than trying to recover mid-stream. */
		LOG_WRN("chunk protocol: unexpected chunk index=%u expected=%u, discarding",
			index, r->next_expected_index);
		chunk_reassembler_reset(r);
		return false;
	}

	if (r->buffer_len + body_len > sizeof(r->buffer)) {
		LOG_WRN("chunk protocol: message exceeds %zu bytes, discarding",
			sizeof(r->buffer));
		chunk_reassembler_reset(r);
		return false;
	}

	memcpy(&r->buffer[r->buffer_len], body, body_len);
	r->buffer_len += body_len;
	r->next_expected_index++;

	if (r->next_expected_index < r->total_chunks) {
		return false; /* more chunks still expected */
	}

	if (crc16_ccitt_false(r->buffer, r->buffer_len) != r->expected_crc16) {
		LOG_WRN("chunk protocol: CRC16 mismatch on reassembled message, discarding");
		chunk_reassembler_reset(r);
		return false;
	}

	*out_msg_type = r->msg_type;
	*out_payload = r->buffer;
	*out_payload_len = r->buffer_len;
	return true;
}

bool chunk_protocol_unwrap_target_hash(const uint8_t *payload, size_t payload_len,
					uint32_t *out_target_hash, const uint8_t **out_data,
					size_t *out_data_len)
{
	if (payload_len < CHUNK_TARGET_HASH_LEN) {
		return false;
	}

	*out_target_hash = sys_get_le32(payload);
	*out_data = payload + CHUNK_TARGET_HASH_LEN;
	*out_data_len = payload_len - CHUNK_TARGET_HASH_LEN;
	return true;
}

int chunk_protocol_decode_diff(const uint8_t *data, size_t len, chunk_diff_entry_t *out_entries,
				size_t max_entries)
{
	if (len < 1) {
		return -1;
	}

	uint8_t count = data[0];
	size_t offset = 1;
	size_t decoded = 0;

	if (count > max_entries) {
		LOG_WRN("chunk protocol: diff has %u entries, max supported is %zu", count,
			max_entries);
		return -1;
	}

	for (uint8_t i = 0; i < count; i++) {
		if (offset + 2 > len) {
			return -1;
		}
		uint8_t element_id = data[offset];
		uint8_t value_len = data[offset + 1];
		offset += 2;

		if (offset + value_len > len) {
			return -1;
		}

		out_entries[decoded].element_id = element_id;
		out_entries[decoded].value = &data[offset];
		out_entries[decoded].value_len = value_len;
		decoded++;
		offset += value_len;
	}

	return (int)decoded;
}
```

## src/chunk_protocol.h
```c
/*
 * Wire protocol for the `data_transfer` characteristic (spec 4.3). Must match
 * gateway/gateway/protocol.py byte-for-byte — see docs/protocol.md.
 *
 * One deliberate asymmetry from the Python side: gateway/gateway/protocol.py's
 * ChunkReassembler tolerates chunks arriving out of index order (defensive, since
 * nothing in the abstract protocol spec guarantees ordering). This firmware side does
 * NOT — it requires chunks in strict ascending index order and discards the whole
 * message otherwise. That's safe because chunks within one BLE connection are delivered
 * in order by the link layer (BLE ATT/L2CAP is ordered, unlike UDP), and requiring order
 * lets reassembly append straight into a flat buffer instead of needing a per-chunk
 * offset table — meaningfully simpler on a memory-constrained target.
 */

#ifndef CHUNK_PROTOCOL_H_
#define CHUNK_PROTOCOL_H_

#include <stdbool.h>
#include <stddef.h>
#include <stdint.h>

#define CHUNK_MSG_TYPE_FULL 0x01
#define CHUNK_MSG_TYPE_DIFF 0x02

#define CHUNK_HEADER_LEN 7 /* type(1) + chunk_index(2) + total_chunks(2) + crc16(2) */
#define CHUNK_TARGET_HASH_LEN 4

/* Max size of a single reassembled message (after the chunk header, before unwrapping
 * the target hash) firmware will buffer. Generous for a small status-display layout;
 * revisit alongside CHUNK_PROTOCOL_MAX_DIFF_ENTRIES if designs grow much larger. */
#define CHUNK_MAX_PAYLOAD_LEN 2048

#define CHUNK_MAX_DIFF_ENTRIES 32

typedef struct {
	uint8_t buffer[CHUNK_MAX_PAYLOAD_LEN];
	size_t buffer_len;
	uint16_t total_chunks;
	uint16_t next_expected_index;
	uint16_t expected_crc16;
	uint8_t msg_type;
	bool in_progress;
} chunk_reassembler_t;

void chunk_reassembler_reset(chunk_reassembler_t *r);

/*
 * Feed one `data_transfer` write into the reassembler. Returns true once a complete
 * message has been received AND its CRC16 matches, filling out_msg_type/out_payload/
 * out_payload_len — out_payload points into the reassembler's own buffer and is only
 * valid until the next feed() call, so the caller must consume it immediately.
 *
 * Returns false for every other case (still buffering, CRC mismatch, out-of-order
 * chunk, oversized message) without distinguishing which — per spec 4.3 these are all
 * "discard silently, the gateway's next check-in will see the stale content_hash and
 * retry," so the caller doesn't need to know why.
 */
bool chunk_reassembler_feed(chunk_reassembler_t *r, const uint8_t *chunk, size_t chunk_len,
			    uint8_t *out_msg_type, const uint8_t **out_payload,
			    size_t *out_payload_len);

/*
 * Splits a verified message payload into (target_content_hash, data). Firmware adopts
 * target_content_hash as-is rather than computing it — see docs/protocol.md,
 * "content_hash for diff updates," for why. Returns false if payload_len is too short
 * to contain the hash prefix.
 */
bool chunk_protocol_unwrap_target_hash(const uint8_t *payload, size_t payload_len,
					uint32_t *out_target_hash, const uint8_t **out_data,
					size_t *out_data_len);

typedef struct {
	uint8_t element_id;
	const uint8_t *value;  /* not null-terminated, points into the reassembler buffer */
	uint8_t value_len;
} chunk_diff_entry_t;

/*
 * Decodes a 0x02 diff message's data (spec: docs/protocol.md diff TLV format) into up
 * to max_entries entries. Returns the number of entries decoded, or -1 if the data is
 * malformed or has more than max_entries updates.
 */
int chunk_protocol_decode_diff(const uint8_t *data, size_t len, chunk_diff_entry_t *out_entries,
				size_t max_entries);

#endif /* CHUNK_PROTOCOL_H_ */
```
